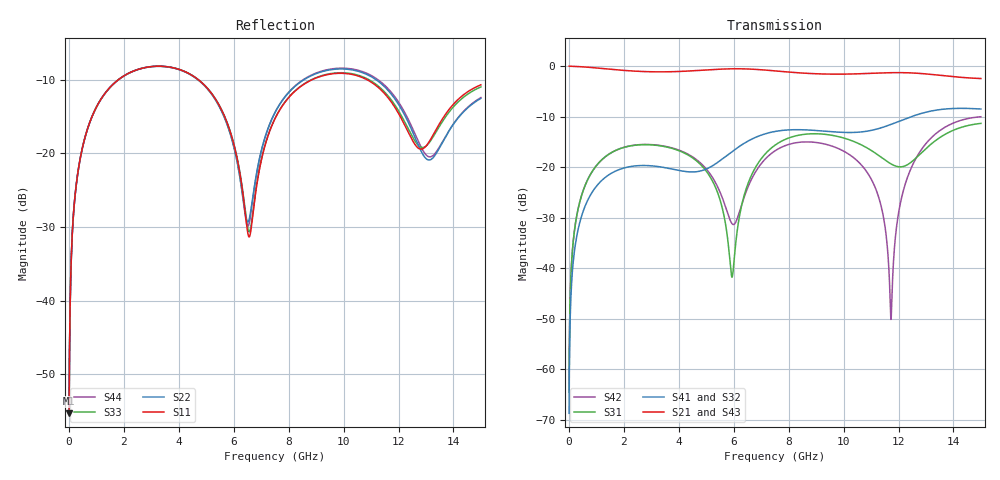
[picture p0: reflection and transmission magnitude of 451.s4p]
! Created with skrf 1.8.0 (http://scikit-rf.org).
# GHz S RI R 50.0
!freq ReS11 ImS11 ReS12 ImS12 ReS13 ImS13
! ReS14 ImS14
! ReS21 ImS21 ReS22 ImS22 ReS23 ImS23
! ReS24 ImS24
! ReS31 ImS31 ReS32 ImS32 ReS33 ImS33
! ReS34 ImS34
! ReS41 ImS41 ReS42 ImS42 ReS43 ImS43
! ReS44 ImS44
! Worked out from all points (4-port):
!   2499 points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, 5 MHz to 15 GHz, reference 50 ohm
!   strongest paths, dB at 5 MHz, 3.476 GHz, 7.19 GHz, 11.1 GHz, 15 GHz:
!     S21: 0.0, -1.1, -0.8, -1.4, -2.5
!     S43: 0.0, -1.1, -0.8, -1.4, -2.4
!     S41: -68.7, -20.1, -13.3, -12.6, -8.5
!     S32: -68.7, -20.0, -13.3, -12.6, -8.4
!     S31: -64.6, -15.9, -17.1, -17.0, -11.3
!     S42: -64.6, -15.8, -18.1, -23.4, -10.0
!   lowest |S11| = -55.3 dB at 5 MHz (marker M1), VSWR 1.00, Z = 50.1 + j0.104 ohm
!   |S11| at or under -10 dB: start of sweep to 1.809 GHz; 4.701 GHz to 8.87 GHz (4.169 GHz wide, 61.4 % of centre); 10.84 GHz to end of sweep
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0.005  0.00137 0.00104  0.9986 -0.00268  6.97e-05 0.000588  -6.75e-05 -0.000361
       0.9986 -0.00268  0.00137 0.00104  -6.75e-05 -0.000361  6.97e-05 0.000588
       6.97e-05 0.000588  -6.75e-05 -0.000361  0.00137 0.00104  0.9986 -0.00268
       -6.75e-05 -0.000361  6.97e-05 0.000588  0.9986 -0.00268  0.00137 0.00104
0.3626511  0.0224 0.0792  0.9692 -0.193  0.0111 0.0406  -0.00914 -0.0247
           0.9692 -0.193  0.0224 0.0792  -0.00915 -0.0247  0.0111 0.0406
           0.0111 0.0406  -0.00915 -0.0247  0.0224 0.0792  0.9692 -0.193
           -0.00914 -0.0247  0.0111 0.0406  0.9692 -0.193  0.0224 0.0792
1.77574  0.2552 0.1808  0.5779 -0.7122  0.1312 0.0716  -0.0929 -0.011
         0.5779 -0.7122  0.2548 0.181  -0.0931 -0.0108  0.1323 0.0702
         0.1312 0.0716  -0.0931 -0.0108  0.2552 0.1809  0.5778 -0.7122
         -0.0929 -0.011  0.1323 0.0702  0.5778 -0.7122  0.255 0.181
6.471446  0.0267 -0.0183  -0.9327 -0.0947  0.0218 0.0594  -0.0158 0.1775
          -0.9327 -0.0947  0.0338 -0.0096  -0.0123 0.1777  -0.0217 0.0551
          0.0218 0.0594  -0.0123 0.1777  0.0289 -0.0188  -0.9327 -0.0944
          -0.0158 0.1775  -0.0217 0.0551  -0.9327 -0.0944  0.0317 -0.01
10.27303  0.3414 -0.0371  0.0491 0.8341  0.1211 -0.1385  0.2102 -0.0661
          0.0491 0.8341  0.3623 -0.0667  0.2096 -0.0726  0.1222 -0.0436
          0.1211 -0.1385  0.2096 -0.0726  0.3448 -0.0395  0.0501 0.8322
          0.2102 -0.0661  0.1222 -0.0436  0.0501 0.8322  0.3678 -0.0655
11.72989  0.188 -0.1211  0.5798 0.6362  -0.0665 -0.0847  0.1942 -0.1807
          0.5798 0.6362  0.1913 -0.165  0.1882 -0.1875  -0.00281 -0.00136
          -0.0665 -0.0847  0.1882 -0.1875  0.1928 -0.1271  0.5786 0.6347
          0.1942 -0.1807  -0.00281 -0.00136  0.5786 0.6347  0.1981 -0.1684
15  0.2846 0.0611  0.5782 -0.4828  0.2303 0.143  -0.3014 -0.2251
    0.5782 -0.4828  0.2286 0.057  -0.3128 -0.2162  0.296 0.1097
    0.2303 0.143  -0.3128 -0.2162  0.2762 0.0546  0.5772 -0.4857
    -0.3014 -0.2251  0.296 0.1097  0.5772 -0.4857  0.2327 0.053
